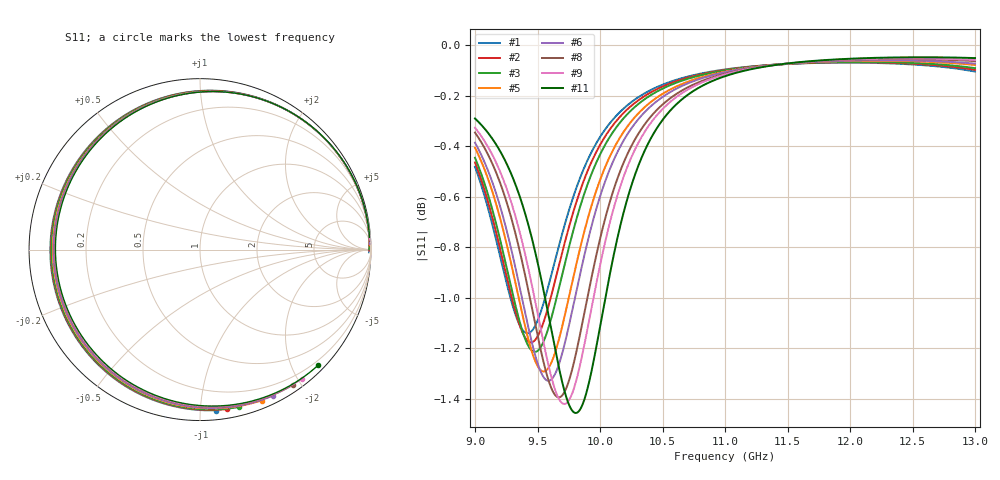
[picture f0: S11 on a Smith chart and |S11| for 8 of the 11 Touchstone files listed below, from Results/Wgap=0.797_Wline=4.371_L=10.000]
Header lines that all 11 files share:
! TOUCHSTONE file generated by CST DESIGN STUDIO
! Project name: C:\Work\MatlabApps\UnitCellOptimizationMatlab\CST\unitcell.cst
! Tree item: Tasks\Sweep1\SPara1\S-Parameters
! Header version: 2024
! Port assignment regex: !\s*Touchstone port\s*([0-9]+)\s*=\s*(CST MWS port|CST DES external port|CST DES block port)\s*(.+)\s* \(\"(.*)\"\)(\s*mode\s*([0-9]+))?.*
! Touchstone port assignment:
! Touchstone port 1 = CST DES external port 1 ("")
# GHz S MA R 50
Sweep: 9 GHz to 13 GHz
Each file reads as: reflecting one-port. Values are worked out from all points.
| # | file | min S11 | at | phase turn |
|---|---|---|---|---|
| 1 | DS_for_MWS-run-0001.s1p | -1.1 dB | 9.42 GHz | -277 deg |
| 2 | DS_for_MWS-run-0002.s1p | -1.2 dB | 9.448 GHz | -280 deg |
| 3 | DS_for_MWS-run-0003.s1p | -1.2 dB | 9.479 GHz | -284 deg |
| 4 | DS_for_MWS-run-0004.s1p | -1.3 dB | 9.513 GHz | -287 deg |
| 5 | DS_for_MWS-run-0005.s1p | -1.3 dB | 9.549 GHz | -291 deg |
| 6 | DS_for_MWS-run-0006.s1p | -1.3 dB | 9.587 GHz | -295 deg |
| 7 | DS_for_MWS-run-0007.s1p | -1.4 dB | 9.628 GHz | -298 deg |
| 8 | DS_for_MWS-run-0008.s1p | -1.4 dB | 9.671 GHz | -302 deg |
| 9 | DS_for_MWS-run-0009.s1p | -1.4 dB | 9.715 GHz | -305 deg |
| 10 | DS_for_MWS-run-0010.s1p | -1.4 dB | 9.76 GHz | -308 deg |
| 11 | DS_for_MWS-run-0011.s1p | -1.5 dB | 9.806 GHz | -312 deg |
